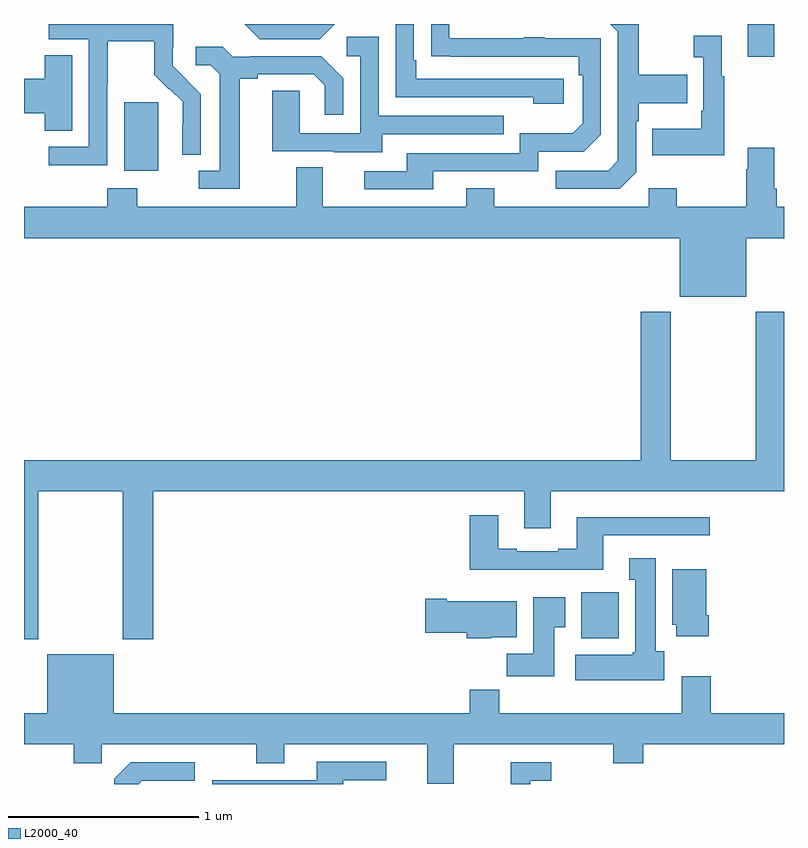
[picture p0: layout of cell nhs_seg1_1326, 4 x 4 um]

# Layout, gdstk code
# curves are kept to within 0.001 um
import gdstk
lib = gdstk.Library(unit=1e-6, precision=1e-09)
def R(c, l, rs):  # rectangles x0, y0, x1, y1
    for r in rs: c.add(gdstk.rectangle(r[:2], r[2:], *l))
def P(c, l, *ps):  # polygons
    for p in ps: c.add(gdstk.Polygon(p, *l))
L2000_40 = (2000, 40)

nhs_seg1_1326 = lib.new_cell('nhs_seg1_1326')
R(nhs_seg1_1326, L2000_40, [(185.933,542.966,186.13,543.208), (183.527,545.426,183.706,545.787), (186.809,546.027,186.949,546.199)])
P(nhs_seg1_1326, L2000_40, [(186.222,545.418),(186.222,545.687),(186.235,545.687),(186.235,545.783),(186.491,545.783),(186.491,545.931),(186.235,545.931),(186.235,546.199),(186.086,546.199),(186.126,546.159),(186.126,545.478),(186.075,545.427),(185.799,545.427),(185.799,545.331),(186.135,545.331)],
  [(185.155,545.424),(185.706,545.424),(185.706,545.526),(185.946,545.526),(186.036,545.616),(186.036,546.123),(185.741,546.123),(185.741,546.128),(185.629,546.128),(185.629,546.123),(185.239,546.123),(185.239,546.199),(185.143,546.199),(185.143,546.028),(185.92,546.027),(185.92,545.93),(185.94,545.93),(185.94,545.676),(185.887,545.623),(185.61,545.623),(185.61,545.52),(185.015,545.52),(185.015,545.424),(184.791,545.424),(184.791,545.328),(185.155,545.328)],
  [(185.842,545.91),(185.065,545.91),(185.065,546.007),(185.052,546.007),(185.052,546.199),(184.956,546.199),(184.956,545.814),(185.681,545.814),(185.681,545.78),(185.842,545.78)],
  [(184.636,546.199),(184.163,546.199),(184.242,546.12),(184.557,546.12)],
  [(183.438,545.884),(183.441,545.884),(183.441,546.108),(183.685,546.108),(183.685,545.933),(183.762,545.856),(183.765,545.859),(183.836,545.789),(183.836,545.666),(183.834,545.666),(183.834,545.512),(183.93,545.512),(183.93,545.83),(183.784,545.978),(183.784,546.075),(183.786,546.075),(183.786,546.199),(183.129,546.199),(183.129,546.12),(183.342,546.12),(183.342,545.553),(183.129,545.553),(183.129,545.455),(183.438,545.455)],
  [(186.685,545.923),(186.673,545.923),(186.673,546.136),(186.525,546.136),(186.525,546.023),(186.576,546.023),(186.576,545.743),(186.564,545.743),(186.564,545.647),(186.307,545.647),(186.307,545.507),(186.685,545.507)],
  [(184.885,545.619),(185.525,545.619),(185.525,545.715),(184.866,545.715),(184.866,546.131),(184.698,546.131),(184.698,546.03),(184.77,546.03),(184.77,545.625),(184.452,545.625),(184.452,545.849),(184.307,545.849),(184.307,545.529),(184.631,545.529),(184.631,545.525),(184.885,545.525)],
  [(184.135,545.912),(184.231,545.912),(184.231,545.934),(184.526,545.934),(184.583,545.877),(184.583,545.721),(184.68,545.721),(184.68,545.914),(184.564,546.03),(184.192,546.03),(184.192,546.027),(184.098,546.027),(184.046,546.079),(183.903,546.079),(183.903,545.982),(183.984,545.982),(184.031,545.935),(184.031,545.427),(183.921,545.427),(183.921,545.331),(184.135,545.331)],
  [(183.253,546.035),(183.11,546.035),(183.11,545.912),(183,545.912),(183,545.729),(183.11,545.729),(183.11,545.638),(183.253,545.638)],
  [(186.452,544.763),(186.802,544.763),(186.802,545.072),(187,545.072),(187,545.236),(186.962,545.236),(186.962,545.332),(186.949,545.332),(186.949,545.548),(186.809,545.548),(186.809,545.435),(186.802,545.435),(186.802,545.236),(186.435,545.236),(186.435,545.335),(186.288,545.335),(186.288,545.236),(185.475,545.236),(185.475,545.335),(185.327,545.335),(185.327,545.236),(184.573,545.236),(184.573,545.444),(184.433,545.444),(184.433,545.236),(183.597,545.236),(183.597,545.335),(183.437,545.335),(183.437,545.236),(183,545.236),(183,545.072),(186.452,545.072)],
  [(183.075,543.74),(183.52,543.74),(183.52,542.961),(183.68,542.961),(183.68,543.74),(185.633,543.74),(185.633,543.546),(185.773,543.546),(185.773,543.74),(187,543.74),(187,544.684),(186.85,544.684),(186.85,543.904),(186.405,543.904),(186.405,544.684),(186.245,544.684),(186.245,543.904),(183,543.904),(183,542.961),(183.075,542.961)],
  [(186.049,543.507),(186.61,543.507),(186.61,543.604),(185.909,543.604),(185.909,543.436),(185.813,543.436),(185.813,543.423),(185.593,543.423),(185.593,543.436),(185.497,543.436),(185.497,543.613),(185.345,543.613),(185.345,543.326),(186.049,543.326)],
  [(186.37,542.898),(186.325,542.898),(186.325,543.388),(186.185,543.388),(186.185,543.275),(186.218,543.275),(186.218,542.892),(186.205,542.892),(186.205,542.878),(185.901,542.878),(185.901,542.744),(186.37,542.744)],
  [(186.605,543.088),(186.592,543.088),(186.592,543.328),(186.413,543.328),(186.413,543.036),(186.434,543.036),(186.434,542.976),(186.605,542.976)],
  [(185.791,543.025),(185.848,543.025),(185.848,543.181),(185.681,543.181),(185.681,542.884),(185.542,542.884),(185.542,542.766),(185.791,542.766)],
  [(185.46,542.972),(185.593,542.972),(185.593,543.16),(185.224,543.16),(185.224,543.173),(185.112,543.173),(185.112,542.995),(185.33,542.995),(185.33,542.966),(185.46,542.966)],
  [(185.263,542.408),(186.1,542.408),(186.1,542.309),(186.26,542.309),(186.26,542.408),(187,542.408),(187,542.572),(186.614,542.572),(186.614,542.767),(186.461,542.767),(186.461,542.572),(185.501,542.572),(185.501,542.696),(185.345,542.696),(185.345,542.572),(183.472,542.572),(183.472,542.881),(183.122,542.881),(183.122,542.572),(183,542.572),(183,542.408),(183.262,542.408),(183.262,542.309),(183.408,542.309),(183.408,542.408),(184.222,542.408),(184.222,542.309),(184.369,542.309),(184.369,542.408),(185.123,542.408),(185.123,542.2),(185.263,542.2)],
  [(184.681,542.22),(184.906,542.22),(184.906,542.316),(184.541,542.316),(184.541,542.22),(183.99,542.22),(183.99,542.199),(184.681,542.199)],
  [(183.621,542.217),(183.898,542.217),(183.898,542.313),(183.561,542.313),(183.474,542.226),(183.474,542.199),(183.603,542.199)],
  [(185.665,542.217),(185.776,542.217),(185.776,542.313),(185.561,542.313),(185.561,542.199),(185.665,542.199)])

lib.write_gds('nhs_seg1_1326.gds')
